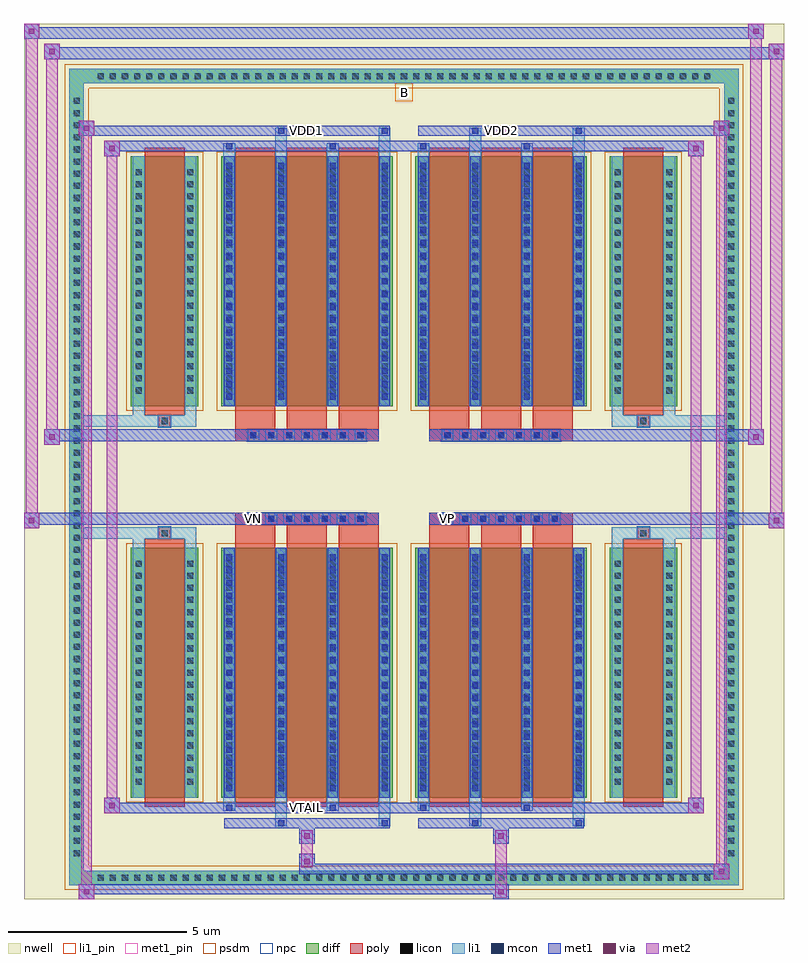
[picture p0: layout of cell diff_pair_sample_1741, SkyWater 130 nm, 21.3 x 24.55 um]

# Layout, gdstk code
import gdstk
lib = gdstk.Library(unit=1e-6, precision=5e-09)
def R(c, l, rs):  # rectangles x0, y0, x1, y1
    for r in rs: c.add(gdstk.rectangle(r[:2], r[2:], *l))
def A(c, l, x, y, w, h, nx, ny, dx, dy):  # array of equal rectangles
    R(c, l, [(x+i*dx, y+j*dy, x+i*dx+w, y+j*dy+h) for i in range(nx) for j in range(ny)])
def P(c, l, *ps):  # polygons
    for p in ps: c.add(gdstk.Polygon(p, *l))
nwell = (64, 20)
diff = (65, 20)
poly = (66, 20)
licon = (66, 44)
li1_pin = (67, 16)
li1 = (67, 20)
mcon = (67, 44)
met1_pin = (68, 16)
met1 = (68, 20)
via = (68, 44)
met2 = (69, 20)
psdm = (94, 20)
npc = (95, 20)

diff_pair_sample_1741 = lib.new_cell('diff_pair_sample_1741')
R(diff_pair_sample_1741, nwell, [(-10.65,-11.84,10.65,12.71), (-7.97,-10.03,-0.01,-0.805), (0.01,-10.03,7.97,-0.805), (-7.97,0.805,-0.01,10.03), (0.01,0.805,7.97,10.03)])
A(diff_pair_sample_1741, diff, -8.705, -11.44, 0.41, 0.41, 51, 2, 0.34, 22.47)
A(diff_pair_sample_1741, diff, -9.38, -10.745, 0.41, 0.41, 1, 63, 0, 0.34)
A(diff_pair_sample_1741, diff, 8.97, -10.745, 0.41, 0.41, 1, 63, 0, 0.34)
R(diff_pair_sample_1741, diff, [(-8.705,-11.44,8.705,-11.03), (-9.38,-10.745,-8.97,10.745), (8.97,-10.745,9.38,10.745), (-7.66,-8.985,-5.76,-1.985), (-5.12,-8.985,-0.32,-1.985), (0.32,-8.985,5.12,-1.985), (5.76,-8.985,7.66,-1.985), (-7.66,1.985,-5.76,8.985), (-5.12,1.985,-0.32,8.985), (0.32,1.985,5.12,8.985), (5.76,1.985,7.66,8.985), (-8.705,11.03,8.705,11.44)])
P(diff_pair_sample_1741, diff, [(9.38,11.44),(-9.38,11.44),(-9.38,-11.03),(-8.97,-11.03),(-8.97,11.03),(8.97,11.03),(8.97,-11.03),(-8.97,-11.03),(-9.38,-11.03),(-9.38,-11.44),(9.38,-11.44)])
A(diff_pair_sample_1741, poly, -4.73, -9.235, 1.12, 7.5, 3, 2, 1.45, 10.97)
A(diff_pair_sample_1741, poly, 0.71, -9.235, 1.12, 7.5, 3, 2, 1.45, 10.97)
A(diff_pair_sample_1741, poly, -4.73, -1.735, 1.12, 0.4, 3, 2, 1.45, 3.07)
A(diff_pair_sample_1741, poly, 0.71, -1.735, 1.12, 0.4, 3, 2, 1.45, 3.07)
A(diff_pair_sample_1741, poly, -4.385, -1.335, 0.33, 0.33, 7, 2, 0.5, 2.34)
A(diff_pair_sample_1741, poly, 1.055, -1.335, 0.33, 0.33, 7, 2, 0.5, 2.34)
R(diff_pair_sample_1741, poly, [(-7.27,-9.235,-6.15,-1.735), (6.15,-9.235,7.27,-1.735), (-6.875,-1.735,-6.545,-1.405), (-6.875,-1.735,-6.545,-1.405), (6.545,-1.735,6.875,-1.405), (6.545,-1.735,6.875,-1.405), (-4.73,-1.335,-0.71,-1.005), (0.71,-1.335,4.73,-1.005), (-4.73,1.005,-0.71,1.335), (0.71,1.005,4.73,1.335), (-6.875,1.405,-6.545,1.735), (-6.875,1.405,-6.545,1.735), (6.545,1.405,6.875,1.735), (6.545,1.405,6.875,1.735), (-7.27,1.735,-6.15,9.235), (6.15,1.735,7.27,9.235)])
A(diff_pair_sample_1741, licon, -8.585, -11.32, 0.17, 0.17, 51, 2, 0.34, 22.47)
A(diff_pair_sample_1741, licon, -9.26, -10.625, 0.17, 0.17, 1, 63, 0, 0.34)
A(diff_pair_sample_1741, licon, 9.09, -10.625, 0.17, 0.17, 1, 63, 0, 0.34)
A(diff_pair_sample_1741, licon, -7.52, -8.63, 0.17, 0.17, 1, 19, 0, 0.34)
A(diff_pair_sample_1741, licon, -6.07, -8.63, 0.17, 0.17, 1, 19, 0, 0.34)
A(diff_pair_sample_1741, licon, -4.98, -8.63, 0.17, 0.17, 4, 19, 1.45, 0.34)
A(diff_pair_sample_1741, licon, 0.46, -8.63, 0.17, 0.17, 4, 19, 1.45, 0.34)
A(diff_pair_sample_1741, licon, 5.9, -8.63, 0.17, 0.17, 1, 19, 0, 0.34)
A(diff_pair_sample_1741, licon, 7.35, -8.63, 0.17, 0.17, 1, 19, 0, 0.34)
A(diff_pair_sample_1741, licon, -4.305, -1.255, 0.17, 0.17, 7, 2, 0.5, 2.34)
A(diff_pair_sample_1741, licon, 1.135, -1.255, 0.17, 0.17, 7, 2, 0.5, 2.34)
A(diff_pair_sample_1741, licon, -7.52, 2.34, 0.17, 0.17, 1, 19, 0, 0.34)
A(diff_pair_sample_1741, licon, -6.07, 2.34, 0.17, 0.17, 1, 19, 0, 0.34)
A(diff_pair_sample_1741, licon, -4.98, 2.34, 0.17, 0.17, 4, 19, 1.45, 0.34)
A(diff_pair_sample_1741, licon, 0.46, 2.34, 0.17, 0.17, 4, 19, 1.45, 0.34)
A(diff_pair_sample_1741, licon, 5.9, 2.34, 0.17, 0.17, 1, 19, 0, 0.34)
A(diff_pair_sample_1741, licon, 7.35, 2.34, 0.17, 0.17, 1, 19, 0, 0.34)
R(diff_pair_sample_1741, licon, [(-6.795,-1.655,-6.625,-1.485), (6.625,-1.655,6.795,-1.485), (-6.795,1.485,-6.625,1.655), (6.625,1.485,6.795,1.655)])
R(diff_pair_sample_1741, li1_pin, [(-0.25,10.53,0.25,11.03)])
A(diff_pair_sample_1741, li1, -8.665, -11.4, 0.33, 0.33, 51, 2, 0.34, 22.47)
A(diff_pair_sample_1741, li1, -9.34, -10.705, 0.33, 0.33, 1, 63, 0, 0.34)
A(diff_pair_sample_1741, li1, 9.01, -10.705, 0.33, 0.33, 1, 63, 0, 0.34)
A(diff_pair_sample_1741, li1, -5.06, -8.985, 0.33, 7, 4, 2, 1.45, 10.97)
A(diff_pair_sample_1741, li1, 0.38, -8.985, 0.33, 7, 4, 2, 1.45, 10.97)
A(diff_pair_sample_1741, li1, -4.98, -8.81, 0.17, 0.17, 4, 19, 1.45, 0.36)
A(diff_pair_sample_1741, li1, -4.98, -8.81, 0.17, 6.65, 4, 2, 1.45, 10.97)
A(diff_pair_sample_1741, li1, 0.46, -8.81, 0.17, 0.17, 4, 19, 1.45, 0.36)
A(diff_pair_sample_1741, li1, 0.46, -8.81, 0.17, 6.65, 4, 2, 1.45, 10.97)
A(diff_pair_sample_1741, li1, -7.6, -8.71, 0.33, 0.33, 1, 19, 0, 0.34)
A(diff_pair_sample_1741, li1, -6.15, -8.71, 0.33, 0.33, 1, 19, 0, 0.34)
A(diff_pair_sample_1741, li1, -5.06, -8.71, 0.33, 0.33, 4, 19, 1.45, 0.34)
A(diff_pair_sample_1741, li1, 0.38, -8.71, 0.33, 0.33, 4, 19, 1.45, 0.34)
A(diff_pair_sample_1741, li1, 5.82, -8.71, 0.33, 0.33, 1, 19, 0, 0.34)
A(diff_pair_sample_1741, li1, 7.27, -8.71, 0.33, 0.33, 1, 19, 0, 0.34)
A(diff_pair_sample_1741, li1, -4.385, -1.335, 0.33, 0.33, 7, 2, 0.5, 2.34)
A(diff_pair_sample_1741, li1, 1.055, -1.335, 0.33, 0.33, 7, 2, 0.5, 2.34)
A(diff_pair_sample_1741, li1, -4.98, 2.16, 0.17, 0.17, 4, 19, 1.45, 0.36)
A(diff_pair_sample_1741, li1, 0.46, 2.16, 0.17, 0.17, 4, 19, 1.45, 0.36)
A(diff_pair_sample_1741, li1, -7.6, 2.26, 0.33, 0.33, 1, 19, 0, 0.34)
A(diff_pair_sample_1741, li1, -6.15, 2.26, 0.33, 0.33, 1, 19, 0, 0.34)
A(diff_pair_sample_1741, li1, -5.06, 2.26, 0.33, 0.33, 4, 19, 1.45, 0.34)
A(diff_pair_sample_1741, li1, 0.38, 2.26, 0.33, 0.33, 4, 19, 1.45, 0.34)
A(diff_pair_sample_1741, li1, 5.82, 2.26, 0.33, 0.33, 1, 19, 0, 0.34)
A(diff_pair_sample_1741, li1, 7.27, 2.26, 0.33, 0.33, 1, 19, 0, 0.34)
R(diff_pair_sample_1741, li1, [(-9.38,-11.44,-8.97,-11.03), (-9.38,-11.44,-8.97,-11.03), (-8.97,-11.44,8.97,-11.03), (8.97,-11.44,9.38,-11.03), (8.97,-11.44,9.38,-11.03), (-9.38,-11.03,-8.97,11.03), (8.97,-11.03,9.38,11.03), (-3.61,-9.79,-3.28,-8.985), (-3.53,-9.79,-3.36,-9.62), (-0.71,-9.79,-0.38,-8.985), (-0.63,-9.79,-0.46,-9.62), (1.83,-9.79,2.16,-8.985), (1.91,-9.79,2.08,-9.62), (4.73,-9.79,5.06,-8.985), (4.81,-9.79,4.98,-9.62), (-5.06,-9.36,-4.73,-8.985), (-4.98,-9.36,-4.81,-9.19), (-2.16,-9.36,-1.83,-8.985), (-2.08,-9.36,-1.91,-9.19), (0.38,-9.36,0.71,-8.985), (0.46,-9.36,0.63,-9.19), (3.28,-9.36,3.61,-8.985), (3.36,-9.36,3.53,-9.19), (-7.6,-8.985,-7.27,-1.985), (-6.15,-8.985,-5.82,-1.985), (5.82,-8.985,6.15,-1.985), (7.27,-8.985,7.6,-1.985), (-7.6,-1.985,-7.27,-1.405), (-6.15,-1.985,-5.82,-1.405), (5.82,-1.985,6.15,-1.405), (7.27,-1.985,7.6,-1.405), (-9.38,-1.735,-6.875,-1.405), (-7.6,-1.735,-6.875,-1.405), (-6.875,-1.735,-6.545,-1.405), (-6.545,-1.735,-5.82,-1.405), (5.82,-1.735,6.545,-1.405), (6.545,-1.735,6.875,-1.405), (6.545,-1.735,9.38,-1.405), (6.875,-1.735,7.6,-1.405), (-9.38,1.405,-6.875,1.735), (-7.6,1.405,-6.875,1.735), (-7.6,1.405,-7.27,1.985), (-6.875,1.405,-6.545,1.735), (-6.545,1.405,-5.82,1.735), (-6.15,1.405,-5.82,1.985), (5.82,1.405,6.545,1.735), (5.82,1.405,6.15,1.985), (6.545,1.405,6.875,1.735), (6.545,1.405,9.38,1.735), (6.875,1.405,7.6,1.735), (7.27,1.405,7.6,1.985), (-7.6,1.985,-7.27,8.985), (-6.15,1.985,-5.82,8.985), (5.82,1.985,6.15,8.985), (7.27,1.985,7.6,8.985), (-5.06,8.985,-4.73,9.36), (-3.61,8.985,-3.28,9.79), (-2.16,8.985,-1.83,9.36), (-0.71,8.985,-0.38,9.79), (0.38,8.985,0.71,9.36), (1.83,8.985,2.16,9.79), (3.28,8.985,3.61,9.36), (4.73,8.985,5.06,9.79), (-4.98,9.19,-4.81,9.36), (-2.08,9.19,-1.91,9.36), (0.46,9.19,0.63,9.36), (3.36,9.19,3.53,9.36), (-3.53,9.62,-3.36,9.79), (-0.63,9.62,-0.46,9.79), (1.91,9.62,2.08,9.79), (4.81,9.62,4.98,9.79), (-9.38,11.03,-8.97,11.44), (-9.38,11.03,-8.97,11.44), (-8.97,11.03,8.97,11.44), (8.97,11.03,9.38,11.44), (8.97,11.03,9.38,11.44)])
A(diff_pair_sample_1741, mcon, -4.98, -8.81, 0.17, 0.17, 4, 19, 1.45, 0.36)
A(diff_pair_sample_1741, mcon, 0.46, -8.81, 0.17, 0.17, 4, 19, 1.45, 0.36)
A(diff_pair_sample_1741, mcon, -4.305, -1.255, 0.17, 0.17, 7, 2, 0.5, 2.34)
A(diff_pair_sample_1741, mcon, 1.135, -1.255, 0.17, 0.17, 7, 2, 0.5, 2.34)
A(diff_pair_sample_1741, mcon, -4.98, 2.16, 0.17, 0.17, 4, 19, 1.45, 0.36)
A(diff_pair_sample_1741, mcon, 0.46, 2.16, 0.17, 0.17, 4, 19, 1.45, 0.36)
R(diff_pair_sample_1741, mcon, [(-3.53,-9.79,-3.36,-9.62), (-0.63,-9.79,-0.46,-9.62), (1.91,-9.79,2.08,-9.62), (4.81,-9.79,4.98,-9.62), (-4.98,-9.36,-4.81,-9.19), (-2.08,-9.36,-1.91,-9.19), (0.46,-9.36,0.63,-9.19), (3.36,-9.36,3.53,-9.19), (-4.98,9.19,-4.81,9.36), (-2.08,9.19,-1.91,9.36), (0.46,9.19,0.63,9.36), (3.36,9.19,3.53,9.36), (-3.53,9.62,-3.36,9.79), (-0.63,9.62,-0.46,9.79), (1.91,9.62,2.08,9.79), (4.81,9.62,4.98,9.79)])
R(diff_pair_sample_1741, met1_pin, [(-2.855,-9.4,-2.585,-9.13), (-4.355,-1.295,-4.085,-1.025), (1.085,-1.295,1.355,-1.025), (-2.855,9.58,-2.585,9.85), (2.585,9.58,2.855,9.85)])
A(diff_pair_sample_1741, met1, -5.04, -8.985, 0.29, 7, 4, 2, 1.45, 10.97)
A(diff_pair_sample_1741, met1, 0.4, -8.985, 0.29, 7, 4, 2, 1.45, 10.97)
A(diff_pair_sample_1741, met1, -5.04, -8.87, 0.29, 0.29, 4, 19, 1.45, 0.36)
A(diff_pair_sample_1741, met1, 0.4, -8.87, 0.29, 0.29, 4, 19, 1.45, 0.36)
A(diff_pair_sample_1741, met1, -4.365, -1.315, 0.29, 0.29, 7, 2, 0.5, 2.34)
A(diff_pair_sample_1741, met1, 1.075, -1.315, 0.29, 0.29, 7, 2, 0.5, 2.34)
A(diff_pair_sample_1741, met1, -5.04, 2.1, 0.29, 0.29, 4, 19, 1.45, 0.36)
A(diff_pair_sample_1741, met1, 0.4, 2.1, 0.29, 0.29, 4, 19, 1.45, 0.36)
R(diff_pair_sample_1741, met1, [(-9.11,-11.84,-8.68,-11.41), (2.505,-11.84,2.935,-11.41), (-9.11,-11.7,2.935,-11.41), (8.68,-11.27,9.11,-10.84), (-2.935,-11.13,9.11,-10.84), (-2.935,-10.99,-2.505,-10.56), (-2.935,-10.28,-2.505,-9.85), (2.505,-10.28,2.935,-9.85), (-5.04,-9.85,-0.4,-9.56), (-3.59,-9.85,-3.3,-9.56), (-0.69,-9.85,-0.4,-9.56), (0.4,-9.85,5.04,-9.56), (1.85,-9.85,2.14,-9.56), (4.75,-9.85,5.04,-9.56), (-8.4,-9.42,-7.97,-8.99), (-8.4,-9.42,-5.04,-9.13), (-5.04,-9.42,-4.75,-9.13), (-5.04,-9.42,-0.4,-9.13), (-2.14,-9.42,-1.85,-9.13), (-0.4,-9.42,0.4,-9.13), (0.4,-9.42,0.69,-9.13), (0.4,-9.42,5.04,-9.13), (3.3,-9.42,3.59,-9.13), (5.04,-9.42,8.4,-9.13), (7.97,-9.42,8.4,-8.99), (-10.65,-1.435,-10.22,-1.005), (10.22,-1.435,10.65,-1.005), (-10.65,-1.335,-0.71,-1.005), (-4.73,-1.335,-0.71,-1.005), (0.71,-1.335,4.73,-1.005), (0.71,-1.335,10.65,-1.005), (-10.08,0.905,-9.65,1.335), (9.65,0.905,10.08,1.335), (-10.08,1.005,-4.73,1.335), (-4.73,1.005,-0.71,1.335), (0.71,1.005,4.73,1.335), (4.73,1.005,10.08,1.335), (-8.4,8.99,-7.97,9.42), (7.97,8.99,8.4,9.42), (-8.4,9.13,-5.04,9.42), (-5.04,9.13,-4.75,9.42), (-5.04,9.13,-0.4,9.42), (-2.14,9.13,-1.85,9.42), (-0.4,9.13,0.4,9.42), (0.4,9.13,0.69,9.42), (0.4,9.13,5.04,9.42), (3.3,9.13,3.59,9.42), (5.04,9.13,8.4,9.42), (-9.11,9.56,-8.68,9.99), (-9.11,9.56,-5.04,9.85), (-5.04,9.56,-0.4,9.85), (-3.59,9.56,-3.3,9.85), (-0.69,9.56,-0.4,9.85), (0.4,9.56,5.04,9.85), (1.85,9.56,2.14,9.85), (4.75,9.56,5.04,9.85), (5.04,9.56,9.11,9.85), (8.68,9.56,9.11,9.99), (-10.08,11.71,-9.65,12.14), (-10.08,11.71,-7.97,12.04), (-7.97,11.71,7.97,12.04), (7.97,11.71,10.65,12.04), (10.22,11.71,10.65,12.14), (-10.65,12.28,-10.22,12.71), (-10.65,12.28,-7.97,12.61), (-7.97,12.28,7.97,12.61), (7.97,12.28,10.08,12.61), (9.65,12.28,10.08,12.71)])
R(diff_pair_sample_1741, via, [(-8.97,-11.7,-8.82,-11.55), (2.645,-11.7,2.795,-11.55), (8.82,-11.13,8.97,-10.98), (-2.795,-10.85,-2.645,-10.7), (-2.795,-10.14,-2.645,-9.99), (2.645,-10.14,2.795,-9.99), (-8.26,-9.28,-8.11,-9.13), (8.11,-9.28,8.26,-9.13), (-10.51,-1.295,-10.36,-1.145), (10.36,-1.295,10.51,-1.145), (-9.94,1.045,-9.79,1.195), (9.79,1.045,9.94,1.195), (-8.26,9.13,-8.11,9.28), (8.11,9.13,8.26,9.28), (-8.97,9.7,-8.82,9.85), (8.82,9.7,8.97,9.85), (-9.94,11.85,-9.79,12), (10.36,11.85,10.51,12), (-10.51,12.42,-10.36,12.57), (9.79,12.42,9.94,12.57)])
R(diff_pair_sample_1741, met2, [(-9.11,-11.84,-8.68,-11.41), (-9.04,-11.84,-8.75,9.99), (-8.75,-11.84,-8.68,-11.41), (-9.06,-11.79,-8.73,-11.46), (2.555,-11.79,2.885,-11.46), (2.555,-11.46,2.885,-10.23), (8.68,-11.27,9.11,-10.84), (8.75,-11.27,9.04,9.99), (9.04,-11.27,9.11,-10.84), (8.73,-11.22,9.06,-10.89), (-2.885,-10.94,-2.555,-10.61), (-2.885,-10.61,-2.555,-10.23), (-2.885,-10.23,-2.555,-9.9), (2.555,-10.23,2.885,-9.9), (-8.4,-9.42,-7.97,-8.99), (-8.33,-9.42,-8.04,9.42), (-8.04,-9.42,-7.97,-8.99), (7.97,-9.42,8.4,-8.99), (8.04,-9.42,8.33,9.42), (8.33,-9.42,8.4,-8.99), (-8.35,-9.37,-8.02,-9.04), (8.02,-9.37,8.35,-9.04), (-10.65,-1.435,-10.22,-1.005), (-10.6,-1.435,-10.27,12.71), (-10.27,-1.435,-10.22,-1.005), (10.22,-1.435,10.65,-1.005), (10.27,-1.435,10.6,12.14), (10.6,-1.435,10.65,-1.005), (-10.6,-1.385,-10.27,-1.055), (10.27,-1.385,10.6,-1.055), (-10.08,0.905,-9.65,1.335), (-10.03,0.905,-9.7,12.14), (-9.7,0.905,-9.65,1.335), (9.65,0.905,10.08,1.335), (9.7,0.905,10.03,12.71), (10.03,0.905,10.08,1.335), (-10.03,0.955,-9.7,1.285), (9.7,0.955,10.03,1.285), (-8.4,8.99,-7.97,9.42), (-8.04,8.99,-7.97,9.42), (7.97,8.99,8.4,9.42), (8.33,8.99,8.4,9.42), (-8.35,9.04,-8.02,9.37), (8.02,9.04,8.35,9.37), (-9.11,9.56,-8.68,9.99), (-8.75,9.56,-8.68,9.99), (8.68,9.56,9.11,9.99), (9.04,9.56,9.11,9.99), (-9.06,9.61,-8.73,9.94), (8.73,9.61,9.06,9.94), (-10.08,11.71,-9.65,12.14), (-9.7,11.71,-9.65,12.14), (10.22,11.71,10.65,12.14), (10.6,11.71,10.65,12.14), (-10.03,11.76,-9.7,12.09), (10.27,11.76,10.6,12.09), (-10.65,12.28,-10.22,12.71), (-10.27,12.28,-10.22,12.71), (9.65,12.28,10.08,12.71), (10.03,12.28,10.08,12.71), (-10.6,12.33,-10.27,12.66), (9.7,12.33,10.03,12.66)])
R(diff_pair_sample_1741, psdm, [(-7.79,-9.115,-5.63,-1.855), (-5.25,-9.115,-0.19,-1.855), (0.19,-9.115,5.25,-1.855), (5.63,-9.115,7.79,-1.855), (-7.79,1.855,-5.63,9.115), (-5.25,1.855,-0.19,9.115), (0.19,1.855,5.25,9.115), (5.63,1.855,7.79,9.115)])
P(diff_pair_sample_1741, psdm, [(9.51,11.57),(-9.51,11.57),(-9.51,-10.9),(-8.84,-10.9),(-8.84,10.9),(8.84,10.9),(8.84,-10.9),(-8.84,-10.9),(-9.51,-10.9),(-9.51,-11.57),(9.51,-11.57)])
A(diff_pair_sample_1741, npc, -4.405, -1.355, 0.37, 0.37, 7, 2, 0.5, 2.34)
A(diff_pair_sample_1741, npc, 1.035, -1.355, 0.37, 0.37, 7, 2, 0.5, 2.34)
R(diff_pair_sample_1741, npc, [(-6.895,-1.755,-6.525,-1.385), (6.525,-1.755,6.895,-1.385), (-4.405,-1.355,-3.535,-0.985), (-4.405,-1.355,-3.535,-0.985), (-3.905,-1.355,-3.035,-0.985), (-3.905,-1.355,-3.035,-0.985), (-3.405,-1.355,-2.535,-0.985), (-3.405,-1.355,-2.535,-0.985), (-2.905,-1.355,-2.035,-0.985), (-2.905,-1.355,-2.035,-0.985), (-2.405,-1.355,-1.535,-0.985), (-2.405,-1.355,-1.535,-0.985), (-1.905,-1.355,-1.035,-0.985), (-1.905,-1.355,-1.035,-0.985), (1.035,-1.355,1.905,-0.985), (1.035,-1.355,1.905,-0.985), (1.535,-1.355,2.405,-0.985), (1.535,-1.355,2.405,-0.985), (2.035,-1.355,2.905,-0.985), (2.035,-1.355,2.905,-0.985), (2.535,-1.355,3.405,-0.985), (2.535,-1.355,3.405,-0.985), (3.035,-1.355,3.905,-0.985), (3.035,-1.355,3.905,-0.985), (3.535,-1.355,4.405,-0.985), (3.535,-1.355,4.405,-0.985), (-4.405,0.985,-3.535,1.355), (-4.405,0.985,-3.535,1.355), (-3.905,0.985,-3.035,1.355), (-3.905,0.985,-3.035,1.355), (-3.405,0.985,-2.535,1.355), (-3.405,0.985,-2.535,1.355), (-2.905,0.985,-2.035,1.355), (-2.905,0.985,-2.035,1.355), (-2.405,0.985,-1.535,1.355), (-2.405,0.985,-1.535,1.355), (-1.905,0.985,-1.035,1.355), (-1.905,0.985,-1.035,1.355), (1.035,0.985,1.905,1.355), (1.035,0.985,1.905,1.355), (1.535,0.985,2.405,1.355), (1.535,0.985,2.405,1.355), (2.035,0.985,2.905,1.355), (2.035,0.985,2.905,1.355), (2.535,0.985,3.405,1.355), (2.535,0.985,3.405,1.355), (3.035,0.985,3.905,1.355), (3.035,0.985,3.905,1.355), (3.535,0.985,4.405,1.355), (3.535,0.985,4.405,1.355), (-6.895,1.385,-6.525,1.755), (6.525,1.385,6.895,1.755)])
diff_pair_sample_1741.add(gdstk.Label('VTAIL', (-2.72,-9.265), layer=68, texttype=5))
diff_pair_sample_1741.add(gdstk.Label('VN', (-4.22,-1.16), layer=68, texttype=5))
diff_pair_sample_1741.add(gdstk.Label('VP', (1.22,-1.16), layer=68, texttype=5))
diff_pair_sample_1741.add(gdstk.Label('B', (0,10.78), layer=67, texttype=5))
diff_pair_sample_1741.add(gdstk.Label('VDD2', (2.72,9.715), layer=68, texttype=5))
diff_pair_sample_1741.add(gdstk.Label('VDD1', (-2.72,9.715), layer=68, texttype=5))

lib.write_gds('diff_pair_sample_1741.gds')
